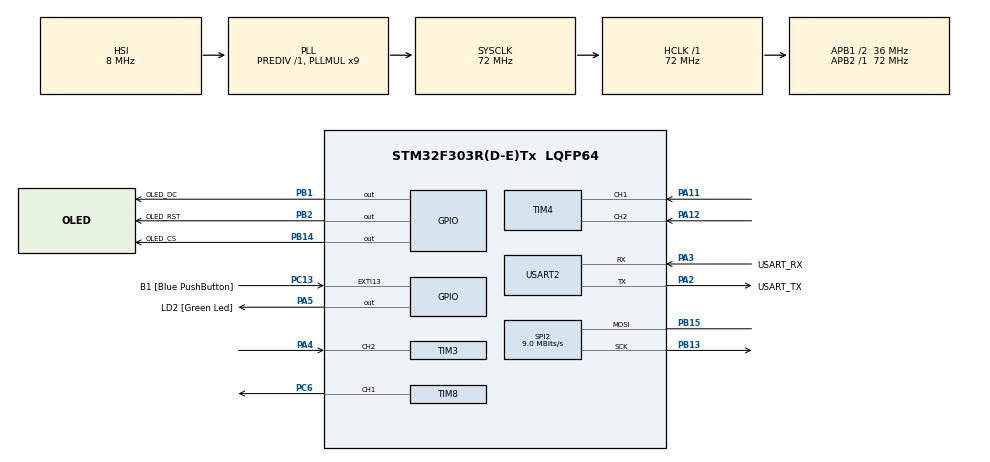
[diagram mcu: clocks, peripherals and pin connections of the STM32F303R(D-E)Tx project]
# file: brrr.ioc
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Mcu.Family=STM32F3
Mcu.Name=STM32F303R(D-E)Tx
Mcu.Package=LQFP64
NVIC.PriorityGroup=NVIC_PRIORITYGROUP_0
NVIC.TIM1_UP_TIM16_IRQn=true\:0\:0\:false\:false\:true\:true\:true
NVIC.TIM2_IRQn=true\:0\:0\:false\:false\:true\:true\:true
NVIC.TIM3_IRQn=true\:0\:0\:false\:false\:true\:true\:true
NVIC.TIM4_IRQn=true\:0\:0\:false\:false\:true\:true\:true
PA11.Signal=S_TIM4_CH1
PA12.Signal=S_TIM4_CH2
PA13.GPIO_Label=TMS
PA13.Mode=Serial_Wire
PA13.Signal=SYS_JTMS-SWDIO
PA14.GPIO_Label=TCK
PA14.Mode=Serial_Wire
PA14.Signal=SYS_JTCK-SWCLK
PA2.GPIO_Label=USART_TX
PA2.GPIO_Mode=GPIO_MODE_AF_PP
PA2.GPIO_PuPd=GPIO_NOPULL
PA2.GPIO_Speed=GPIO_SPEED_FREQ_LOW
PA2.Mode=Asynchronous
PA2.Signal=USART2_TX
PA3.GPIO_Label=USART_RX
PA3.GPIO_Mode=GPIO_MODE_AF_PP
PA3.GPIO_PuPd=GPIO_NOPULL
PA3.GPIO_Speed=GPIO_SPEED_FREQ_LOW
PA3.Mode=Asynchronous
PA3.Signal=USART2_RX
PA4.Signal=S_TIM3_CH2
PA5.GPIO_Label=LD2 [Green Led]
PA5.GPIO_Mode=GPIO_MODE_OUTPUT_PP
PA5.GPIO_PuPd=GPIO_NOPULL
PA5.GPIO_Speed=GPIO_SPEED_FREQ_LOW
PA5.Signal=GPIO_Output
PB1.GPIO_Label=OLED_DC
PB1.Signal=GPIO_Output
PB13.Mode=Simplex_Bidirectional_Master
PB13.Signal=SPI2_SCK
PB14.GPIO_Label=OLED_CS
PB14.Signal=GPIO_Output
PB15.Mode=Simplex_Bidirectional_Master
PB15.Signal=SPI2_MOSI
PB2.GPIO_Label=OLED_RST
PB2.Signal=GPIO_Output
PB3.GPIO_Label=SWO
PB3.Signal=SYS_JTDO-TRACESWO
PC13.GPIO_Label=B1 [Blue PushButton]
PC13.GPIO_ModeDefaultEXTI=GPIO_MODE_IT_FALLING
PC13.Signal=GPXTI13
PC14-OSC32_IN.Mode=LSE-External-Oscillator
PC14-OSC32_IN.Signal=RCC_OSC32_IN
PC15-OSC32_OUT.Mode=LSE-External-Oscillator
PC15-OSC32_OUT.Signal=RCC_OSC32_OUT
PC6.Signal=S_TIM8_CH1
PF0-OSC_IN.Mode=HSE-External-Clock-Source
PF0-OSC_IN.Signal=RCC_OSC_IN
PF1-OSC_OUT.Signal=RCC_OSC_OUT
ProjectManager.HeapSize=0x200
ProjectManager.StackSize=0x400
ProjectManager.TargetToolchain=STM32CubeIDE
RCC.AHBFreq_Value=72000000
RCC.APB1CLKDivider=RCC_HCLK_DIV2
RCC.APB1Freq_Value=36000000
RCC.APB1TimFreq_Value=72000000
RCC.APB2Freq_Value=72000000
RCC.APB2TimFreq_Value=72000000
RCC.CortexFreq_Value=72000000
RCC.HCLKFreq_Value=72000000
RCC.HSE_VALUE=8000000
RCC.HSI_VALUE=8000000
RCC.PLLM=8
RCC.PLLMUL=RCC_PLL_MUL9
RCC.PLLN=336
RCC.PLLP=RCC_PLLP_DIV4
RCC.PLLQ=7
RCC.RCC_PLLsource_Clock_Source_FROM_HSE=RCC_HSE_PREDIV_DIV2
RCC.SYSCLKFreq_VALUE=72000000
RCC.SYSCLKSourceVirtual=RCC_SYSCLKSOURCE_PLLCLK
RCC.USBFreq_Value=72000000
SH.S_TIM3_CH2.0=TIM3_CH2,Input_Capture2_from_TI2
SH.S_TIM4_CH1.0=TIM4_CH1,Encoder_Interface
SH.S_TIM4_CH2.0=TIM4_CH2,Encoder_Interface
SH.S_TIM8_CH1.0=TIM8_CH1,PWM Generation1 CH1
SPI2.BaudRatePrescaler=SPI_BAUDRATEPRESCALER_4
SPI2.CLKPhase=SPI_PHASE_1EDGE
SPI2.CLKPolarity=SPI_POLARITY_HIGH
SPI2.CalculateBaudRate=9.0 MBits/s
SPI2.DataSize=SPI_DATASIZE_8BIT
SPI2.Direction=SPI_DIRECTION_1LINE
SPI2.Mode=SPI_MODE_MASTER
SPI2.NSSPMode=SPI_NSS_PULSE_DISABLE
SPI2.VirtualType=VM_MASTER
TIM1.Period=4000
TIM1.Prescaler=72
TIM2.Period=1000
TIM2.Prescaler=72
TIM3.Channel-Input_Capture2_from_TI2=TIM_CHANNEL_2
TIM3.ClockDivision=TIM_CLOCKDIVISION_DIV1
TIM3.ICFilter_CH2=15
TIM3.Period=65535
TIM3.Prescaler=144
TIM4.EncoderMode=TIM_ENCODERMODE_TI1
TIM4.IC1Filter=5
TIM4.IC1Polarity=TIM_ICPOLARITY_RISING
TIM4.IC2Filter=5
TIM8.AutoReloadPreload=TIM_AUTORELOAD_PRELOAD_DISABLE
TIM8.Channel-PWM\ Generation1\ CH1=TIM_CHANNEL_1
TIM8.Period=7199
TIM8.Prescaler=0
USART2.VirtualMode-Asynchronous=VM_ASYNC
VP_TIM1_VS_ClockSourceINT.Mode=Internal
VP_TIM2_VS_ClockSourceINT.Mode=Internal
VP_TIM3_VS_ClockSourceINT.Mode=Internal
VP_TIM8_VS_ClockSourceINT.Mode=Internal
board=NUCLEO-F303RE

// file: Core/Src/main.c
/* USER CODE BEGIN Header */
/**
 ******************************************************************************
 * @file           : main.c
 * @brief          : Main program body
 ******************************************************************************
 * @attention
 *
 * <h2><center>&copy; Copyright (c) 2021 STMicroelectronics.
 * All rights reserved.</center></h2>
 *
 * This software component is licensed by ST under BSD 3-Clause license,
 * the "License"; You may not use this file except in compliance with the
 * License. You may obtain a copy of the License at:
 *                        opensource.org/licenses/BSD-3-Clause
 *
 ******************************************************************************
 */
/* USER CODE END Header */
#include "main.h"

/* USER CODE BEGIN Includes */
#include "oled.h"
#include "lvgl/lvgl.h"
#include "math.h"
/* USER CODE END Includes */

SPI_HandleTypeDef hspi2;

TIM_HandleTypeDef htim1;
TIM_HandleTypeDef htim2;
TIM_HandleTypeDef htim3;
TIM_HandleTypeDef htim4;
TIM_HandleTypeDef htim8;

UART_HandleTypeDef huart2;

/* USER CODE BEGIN PV */
static TIM_HandleTypeDef *UI_UPDATE_TIM_INSTANCE_PTR = &htim1;
static TIM_HandleTypeDef *LVGL_TICK_TIM_INSTANCE_PTR = &htim2;
static TIM_HandleTypeDef *FREQ_IC_TIM_INSTANCE_PTR = &htim3;
static TIM_HandleTypeDef *ENCODER_TIM_INSTANCE_PTR = &htim4;
static TIM_HandleTypeDef *PWM_TIM_INSTANCE_PTR = &htim8;

static lv_disp_buf_t disp_buf;
static lv_color_t buf[LV_HOR_RES_MAX * LV_VER_RES_MAX];
uint32_t counter = 0;

static volatile uint32_t captured_count_1 = 0;
static volatile uint32_t captured_count_2 = 0;
static volatile uint32_t captured_period = 0;
static volatile float captured_frequency = 0.0f;
static volatile uint8_t ui_update_flag = 0;
static volatile int32_t encoder_value = 0;
const int32_t encoder_min = 0;
const int32_t encoder_max = 100;
static volatile uint16_t encoder_counter = 0;
static volatile uint16_t last_encoder_counter = 0;
/* USER CODE END PV */

void SystemClock_Config(void);
static void MX_GPIO_Init(void);
static void MX_USART2_UART_Init(void);
static void MX_SPI2_Init(void);
static void MX_TIM1_Init(void);
static void MX_TIM2_Init(void);
static void MX_TIM3_Init(void);
static void MX_TIM4_Init(void);
static void MX_TIM8_Init(void);

/* USER CODE BEGIN 0 */
void HAL_TIM_IC_CaptureCallback(TIM_HandleTypeDef *htim) {
	static uint8_t first_capture = 0;
	if (htim == FREQ_IC_TIM_INSTANCE_PTR) {
		if (first_capture == 0) {
			captured_count_1 = HAL_TIM_ReadCapturedValue(&htim3, TIM_CHANNEL_2);
			first_capture = 1;
		} else if (first_capture == 1) {
			captured_count_2 = HAL_TIM_ReadCapturedValue(&htim3, TIM_CHANNEL_2);

			if (captured_count_2 > captured_count_1) {
				captured_period = (captured_count_2 - captured_count_1) * 2; // us
				captured_frequency = 1000000 / captured_period; // Hz
			}
			first_capture = 0;
		}
	}

	// if (htim == ENCODER_TIM_INSTANCE_PTR) {}
}

void HAL_TIM_PeriodElapsedCallback(TIM_HandleTypeDef *htim) {
	if (htim == UI_UPDATE_TIM_INSTANCE_PTR)
		ui_update_flag = 1;

	if (htim == LVGL_TICK_TIM_INSTANCE_PTR)
	{
		encoder_counter = (uint16_t)ENCODER_TIM_INSTANCE_PTR->Instance->CNT;
		int32_t unbound_encoder_value = encoder_value + (int16_t)(encoder_counter - last_encoder_counter);
		last_encoder_counter = encoder_counter;

		if ( unbound_encoder_value > encoder_max ) encoder_value = encoder_max;
		else if ( unbound_encoder_value < encoder_min ) encoder_value = encoder_min;
		else encoder_value = unbound_encoder_value;

		PWM_TIM_INSTANCE_PTR->Instance->CCR1 = encoder_value * 72;
		lv_tick_inc(1);
	}

}

void HAL_TIM_PWM_PulseFinishedCallback(TIM_HandleTypeDef *htim) {
	// if (htim == PWM_TIM_INSTANCE_PTR)
	// ui_update_flag = 1;

}

void start_lvgl_tick() {
	HAL_TIM_Base_Start_IT(LVGL_TICK_TIM_INSTANCE_PTR);
}

void start_encoder_timer() {
	HAL_TIM_Encoder_Start_IT(ENCODER_TIM_INSTANCE_PTR,
			TIM_CHANNEL_1 | TIM_CHANNEL_2);
}
/* USER CODE END 0 */

int main(void)
{

  /* MCU Configuration--------------------------------------------------------*/

  /* Reset of all peripherals, Initializes the Flash interface and the Systick. */
  HAL_Init();

  /* Configure the system clock */
  SystemClock_Config();

  /* Initialize all configured peripherals */
  MX_GPIO_Init();
  MX_USART2_UART_Init();
  MX_SPI2_Init();
  MX_TIM1_Init();
  MX_TIM2_Init();
  MX_TIM3_Init();
  MX_TIM4_Init();
  MX_TIM8_Init();
  /* USER CODE BEGIN 2 */

	initialize();
	start_lvgl_tick();
	lv_init();

	lv_disp_buf_init(&disp_buf, buf, NULL,
			LV_HOR_RES_MAX * LV_VER_RES_MAX / 10); /*Initialize the display buffer*/

	lv_disp_drv_t disp_drv; /*Descriptor of a display driver*/
	lv_disp_drv_init(&disp_drv); /*Basic initialization*/
	disp_drv.flush_cb = &my_disp_flush; /*Set your driver function*/
	disp_drv.buffer = &disp_buf; /*Assign the buffer to the display*/
	lv_disp_drv_register(&disp_drv); /*Finally register the driver*/

	lv_obj_t *label1 = lv_label_create(lv_scr_act(), NULL);
	/*
	 static lv_style_t label_style;
	 lv_style_init(&label_style);
	 lv_style_set_text_font(&label_style, LV_STATE_DEFAULT, &lv_font_montserrat_14);
	 lv_obj_add_style(&label1, LV_LABEL_PART_MAIN, &label_style);
	 */

	lv_label_set_long_mode(label1, LV_LABEL_LONG_SROLL_CIRC);
	lv_label_set_align(label1, LV_LABEL_ALIGN_LEFT);
	lv_label_set_text(label1, "Holy fucking Mackerel!");
	lv_obj_set_width(label1, 128);
	lv_obj_align(label1, NULL, LV_ALIGN_IN_TOP_MID, 0, 0);

	lv_obj_t *label2 = lv_label_create(lv_scr_act(), NULL);
	lv_label_set_align(label2, LV_LABEL_ALIGN_CENTER);
	lv_obj_set_width(label2, 128);
	lv_obj_align(label2, NULL, LV_ALIGN_IN_LEFT_MID, 0, -10);

	lv_obj_t *label3 = lv_label_create(lv_scr_act(), NULL);
	lv_label_set_align(label3, LV_LABEL_ALIGN_CENTER);
	lv_obj_set_width(label3, 128);
	lv_obj_align(label3, NULL, LV_ALIGN_IN_LEFT_MID, 0, 10);

	lv_obj_t *label4 = lv_label_create(lv_scr_act(), NULL);
	lv_label_set_align(label4, LV_LABEL_ALIGN_CENTER);
	lv_obj_set_width(label4, 128);
	lv_obj_align(label4, NULL, LV_ALIGN_IN_BOTTOM_LEFT, 0, 0);

	// Start UI update timer
	HAL_TIM_Base_Start_IT(UI_UPDATE_TIM_INSTANCE_PTR);

	// Start frequency measurement channel
	HAL_TIM_IC_Start_IT(&htim3, TIM_CHANNEL_2);

	start_encoder_timer();

	HAL_TIM_PWM_Start(PWM_TIM_INSTANCE_PTR, TIM_CHANNEL_1);
  /* USER CODE END 2 */

  /* Infinite loop */
  /* USER CODE BEGIN WHILE */
	while (1) {
		lv_task_handler();

		if (ui_update_flag == 1) {
			lv_label_set_text_fmt(label2, "f = %d", lroundf(captured_frequency));
			lv_label_set_text_fmt(label3, "RPM = %d", lroundf(captured_frequency / 4.0f * 60.0f));
			lv_label_set_text_fmt(label4, "enc = %d", encoder_value);

			ui_update_flag = 0;
		}

    /* USER CODE END WHILE */

	}
}

void SystemClock_Config(void)
{
  RCC_OscInitTypeDef RCC_OscInitStruct = {0};
  RCC_ClkInitTypeDef RCC_ClkInitStruct = {0};
  RCC_PeriphCLKInitTypeDef PeriphClkInit = {0};

  /** Initializes the RCC Oscillators according to the specified parameters
  * in the RCC_OscInitTypeDef structure.
  */
  RCC_OscInitStruct.OscillatorType = RCC_OSCILLATORTYPE_HSI;
  RCC_OscInitStruct.HSIState = RCC_HSI_ON;
  RCC_OscInitStruct.HSICalibrationValue = RCC_HSICALIBRATION_DEFAULT;
  RCC_OscInitStruct.PLL.PLLState = RCC_PLL_ON;
  RCC_OscInitStruct.PLL.PLLSource = RCC_PLLSOURCE_HSI;
  RCC_OscInitStruct.PLL.PLLMUL = RCC_PLL_MUL9;
  RCC_OscInitStruct.PLL.PREDIV = RCC_PREDIV_DIV1;
  if (HAL_RCC_OscConfig(&RCC_OscInitStruct) != HAL_OK)
  {
    Error_Handler();
  }
  /** Initializes the CPU, AHB and APB buses clocks
  */
  RCC_ClkInitStruct.ClockType = RCC_CLOCKTYPE_HCLK|RCC_CLOCKTYPE_SYSCLK
                              |RCC_CLOCKTYPE_PCLK1|RCC_CLOCKTYPE_PCLK2;
  RCC_ClkInitStruct.SYSCLKSource = RCC_SYSCLKSOURCE_PLLCLK;
  RCC_ClkInitStruct.AHBCLKDivider = RCC_SYSCLK_DIV1;
  RCC_ClkInitStruct.APB1CLKDivider = RCC_HCLK_DIV2;
  RCC_ClkInitStruct.APB2CLKDivider = RCC_HCLK_DIV1;

  if (HAL_RCC_ClockConfig(&RCC_ClkInitStruct, FLASH_LATENCY_2) != HAL_OK)
  {
    Error_Handler();
  }
  PeriphClkInit.PeriphClockSelection = RCC_PERIPHCLK_USART2|RCC_PERIPHCLK_TIM1
                              |RCC_PERIPHCLK_TIM8|RCC_PERIPHCLK_TIM2
                              |RCC_PERIPHCLK_TIM34;
  PeriphClkInit.Usart2ClockSelection = RCC_USART2CLKSOURCE_PCLK1;
  PeriphClkInit.Tim1ClockSelection = RCC_TIM1CLK_HCLK;
  PeriphClkInit.Tim8ClockSelection = RCC_TIM8CLK_HCLK;
  PeriphClkInit.Tim2ClockSelection = RCC_TIM2CLK_HCLK;
  PeriphClkInit.Tim34ClockSelection = RCC_TIM34CLK_HCLK;
  if (HAL_RCCEx_PeriphCLKConfig(&PeriphClkInit) != HAL_OK)
  {
    Error_Handler();
  }
}

static void MX_SPI2_Init(void)
{

  /* SPI2 parameter configuration*/
  hspi2.Instance = SPI2;
  hspi2.Init.Mode = SPI_MODE_MASTER;
  hspi2.Init.Direction = SPI_DIRECTION_1LINE;
  hspi2.Init.DataSize = SPI_DATASIZE_8BIT;
  hspi2.Init.CLKPolarity = SPI_POLARITY_HIGH;
  hspi2.Init.CLKPhase = SPI_PHASE_1EDGE;
  hspi2.Init.NSS = SPI_NSS_SOFT;
  hspi2.Init.BaudRatePrescaler = SPI_BAUDRATEPRESCALER_4;
  hspi2.Init.FirstBit = SPI_FIRSTBIT_MSB;
  hspi2.Init.TIMode = SPI_TIMODE_DISABLE;
  hspi2.Init.CRCCalculation = SPI_CRCCALCULATION_DISABLE;
  hspi2.Init.CRCPolynomial = 7;
  hspi2.Init.CRCLength = SPI_CRC_LENGTH_DATASIZE;
  hspi2.Init.NSSPMode = SPI_NSS_PULSE_DISABLE;
  if (HAL_SPI_Init(&hspi2) != HAL_OK)
  {
    Error_Handler();
  }

}

static void MX_TIM1_Init(void)
{

  TIM_ClockConfigTypeDef sClockSourceConfig = {0};
  TIM_MasterConfigTypeDef sMasterConfig = {0};

  htim1.Instance = TIM1;
  htim1.Init.Prescaler = 72;
  htim1.Init.CounterMode = TIM_COUNTERMODE_UP;
  htim1.Init.Period = 4000;
  htim1.Init.ClockDivision = TIM_CLOCKDIVISION_DIV1;
  htim1.Init.RepetitionCounter = 0;
  htim1.Init.AutoReloadPreload = TIM_AUTORELOAD_PRELOAD_DISABLE;
  if (HAL_TIM_Base_Init(&htim1) != HAL_OK)
  {
    Error_Handler();
  }
  sClockSourceConfig.ClockSource = TIM_CLOCKSOURCE_INTERNAL;
  if (HAL_TIM_ConfigClockSource(&htim1, &sClockSourceConfig) != HAL_OK)
  {
    Error_Handler();
  }
  sMasterConfig.MasterOutputTrigger = TIM_TRGO_RESET;
  sMasterConfig.MasterOutputTrigger2 = TIM_TRGO2_RESET;
  sMasterConfig.MasterSlaveMode = TIM_MASTERSLAVEMODE_DISABLE;
  if (HAL_TIMEx_MasterConfigSynchronization(&htim1, &sMasterConfig) != HAL_OK)
  {
    Error_Handler();
  }

}

static void MX_TIM2_Init(void)
{

  TIM_ClockConfigTypeDef sClockSourceConfig = {0};
  TIM_MasterConfigTypeDef sMasterConfig = {0};

  htim2.Instance = TIM2;
  htim2.Init.Prescaler = 72;
  htim2.Init.CounterMode = TIM_COUNTERMODE_UP;
  htim2.Init.Period = 1000;
  htim2.Init.ClockDivision = TIM_CLOCKDIVISION_DIV1;
  htim2.Init.AutoReloadPreload = TIM_AUTORELOAD_PRELOAD_DISABLE;
  if (HAL_TIM_Base_Init(&htim2) != HAL_OK)
  {
    Error_Handler();
  }
  sClockSourceConfig.ClockSource = TIM_CLOCKSOURCE_INTERNAL;
  if (HAL_TIM_ConfigClockSource(&htim2, &sClockSourceConfig) != HAL_OK)
  {
    Error_Handler();
  }
  sMasterConfig.MasterOutputTrigger = TIM_TRGO_RESET;
  sMasterConfig.MasterSlaveMode = TIM_MASTERSLAVEMODE_DISABLE;
  if (HAL_TIMEx_MasterConfigSynchronization(&htim2, &sMasterConfig) != HAL_OK)
  {
    Error_Handler();
  }

}

static void MX_TIM3_Init(void)
{

  TIM_ClockConfigTypeDef sClockSourceConfig = {0};
  TIM_MasterConfigTypeDef sMasterConfig = {0};
  TIM_IC_InitTypeDef sConfigIC = {0};

  htim3.Instance = TIM3;
  htim3.Init.Prescaler = 144;
  htim3.Init.CounterMode = TIM_COUNTERMODE_UP;
  htim3.Init.Period = 65535;
  htim3.Init.ClockDivision = TIM_CLOCKDIVISION_DIV1;
  htim3.Init.AutoReloadPreload = TIM_AUTORELOAD_PRELOAD_DISABLE;
  if (HAL_TIM_Base_Init(&htim3) != HAL_OK)
  {
    Error_Handler();
  }
  sClockSourceConfig.ClockSource = TIM_CLOCKSOURCE_INTERNAL;
  if (HAL_TIM_ConfigClockSource(&htim3, &sClockSourceConfig) != HAL_OK)
  {
    Error_Handler();
  }
  if (HAL_TIM_IC_Init(&htim3) != HAL_OK)
  {
    Error_Handler();
  }
  sMasterConfig.MasterOutputTrigger = TIM_TRGO_RESET;
  sMasterConfig.MasterSlaveMode = TIM_MASTERSLAVEMODE_DISABLE;
  if (HAL_TIMEx_MasterConfigSynchronization(&htim3, &sMasterConfig) != HAL_OK)
  {
    Error_Handler();
  }
  sConfigIC.ICPolarity = TIM_INPUTCHANNELPOLARITY_RISING;
  sConfigIC.ICSelection = TIM_ICSELECTION_DIRECTTI;
  sConfigIC.ICPrescaler = TIM_ICPSC_DIV1;
  sConfigIC.ICFilter = 15;
  if (HAL_TIM_IC_ConfigChannel(&htim3, &sConfigIC, TIM_CHANNEL_2) != HAL_OK)
  {
    Error_Handler();
  }

}

static void MX_TIM4_Init(void)
{

  TIM_Encoder_InitTypeDef sConfig = {0};
  TIM_MasterConfigTypeDef sMasterConfig = {0};

  htim4.Instance = TIM4;
  htim4.Init.Prescaler = 0;
  htim4.Init.CounterMode = TIM_COUNTERMODE_UP;
  htim4.Init.Period = 65535;
  htim4.Init.ClockDivision = TIM_CLOCKDIVISION_DIV1;
  htim4.Init.AutoReloadPreload = TIM_AUTORELOAD_PRELOAD_DISABLE;
  sConfig.EncoderMode = TIM_ENCODERMODE_TI1;
  sConfig.IC1Polarity = TIM_ICPOLARITY_RISING;
  sConfig.IC1Selection = TIM_ICSELECTION_DIRECTTI;
  sConfig.IC1Prescaler = TIM_ICPSC_DIV1;
  sConfig.IC1Filter = 5;
  sConfig.IC2Polarity = TIM_ICPOLARITY_RISING;
  sConfig.IC2Selection = TIM_ICSELECTION_DIRECTTI;
  sConfig.IC2Prescaler = TIM_ICPSC_DIV1;
  sConfig.IC2Filter = 5;
  if (HAL_TIM_Encoder_Init(&htim4, &sConfig) != HAL_OK)
  {
    Error_Handler();
  }
  sMasterConfig.MasterOutputTrigger = TIM_TRGO_RESET;
  sMasterConfig.MasterSlaveMode = TIM_MASTERSLAVEMODE_DISABLE;
  if (HAL_TIMEx_MasterConfigSynchronization(&htim4, &sMasterConfig) != HAL_OK)
  {
    Error_Handler();
  }

}

static void MX_TIM8_Init(void)
{

  TIM_ClockConfigTypeDef sClockSourceConfig = {0};
  TIM_MasterConfigTypeDef sMasterConfig = {0};
  TIM_OC_InitTypeDef sConfigOC = {0};
  TIM_BreakDeadTimeConfigTypeDef sBreakDeadTimeConfig = {0};

  htim8.Instance = TIM8;
  htim8.Init.Prescaler = 0;
  htim8.Init.CounterMode = TIM_COUNTERMODE_UP;
  htim8.Init.Period = 7199;
  htim8.Init.ClockDivision = TIM_CLOCKDIVISION_DIV1;
  htim8.Init.RepetitionCounter = 0;
  htim8.Init.AutoReloadPreload = TIM_AUTORELOAD_PRELOAD_DISABLE;
  if (HAL_TIM_Base_Init(&htim8) != HAL_OK)
  {
    Error_Handler();
  }
  sClockSourceConfig.ClockSource = TIM_CLOCKSOURCE_INTERNAL;
  if (HAL_TIM_ConfigClockSource(&htim8, &sClockSourceConfig) != HAL_OK)
  {
    Error_Handler();
  }
  if (HAL_TIM_PWM_Init(&htim8) != HAL_OK)
  {
    Error_Handler();
  }
  sMasterConfig.MasterOutputTrigger = TIM_TRGO_RESET;
  sMasterConfig.MasterOutputTrigger2 = TIM_TRGO2_RESET;
  sMasterConfig.MasterSlaveMode = TIM_MASTERSLAVEMODE_DISABLE;
  if (HAL_TIMEx_MasterConfigSynchronization(&htim8, &sMasterConfig) != HAL_OK)
  {
    Error_Handler();
  }
  sConfigOC.OCMode = TIM_OCMODE_PWM1;
  sConfigOC.Pulse = 0;
  sConfigOC.OCPolarity = TIM_OCPOLARITY_HIGH;
  sConfigOC.OCNPolarity = TIM_OCNPOLARITY_HIGH;
  sConfigOC.OCFastMode = TIM_OCFAST_DISABLE;
  sConfigOC.OCIdleState = TIM_OCIDLESTATE_RESET;
  sConfigOC.OCNIdleState = TIM_OCNIDLESTATE_RESET;
  if (HAL_TIM_PWM_ConfigChannel(&htim8, &sConfigOC, TIM_CHANNEL_1) != HAL_OK)
  {
    Error_Handler();
  }
  sBreakDeadTimeConfig.OffStateRunMode = TIM_OSSR_DISABLE;
  sBreakDeadTimeConfig.OffStateIDLEMode = TIM_OSSI_DISABLE;
  sBreakDeadTimeConfig.LockLevel = TIM_LOCKLEVEL_OFF;
  sBreakDeadTimeConfig.DeadTime = 0;
  sBreakDeadTimeConfig.BreakState = TIM_BREAK_DISABLE;
  sBreakDeadTimeConfig.BreakPolarity = TIM_BREAKPOLARITY_HIGH;
  sBreakDeadTimeConfig.BreakFilter = 0;
  sBreakDeadTimeConfig.Break2State = TIM_BREAK2_DISABLE;
  sBreakDeadTimeConfig.Break2Polarity = TIM_BREAK2POLARITY_HIGH;
  sBreakDeadTimeConfig.Break2Filter = 0;
  sBreakDeadTimeConfig.AutomaticOutput = TIM_AUTOMATICOUTPUT_DISABLE;
  if (HAL_TIMEx_ConfigBreakDeadTime(&htim8, &sBreakDeadTimeConfig) != HAL_OK)
  {
    Error_Handler();
  }
  HAL_TIM_MspPostInit(&htim8);

}

static void MX_USART2_UART_Init(void)
{

  huart2.Instance = USART2;
  huart2.Init.BaudRate = 38400;
  huart2.Init.WordLength = UART_WORDLENGTH_8B;
  huart2.Init.StopBits = UART_STOPBITS_1;
  huart2.Init.Parity = UART_PARITY_NONE;
  huart2.Init.Mode = UART_MODE_TX_RX;
  huart2.Init.HwFlowCtl = UART_HWCONTROL_NONE;
  huart2.Init.OverSampling = UART_OVERSAMPLING_16;
  huart2.Init.OneBitSampling = UART_ONE_BIT_SAMPLE_DISABLE;
  huart2.AdvancedInit.AdvFeatureInit = UART_ADVFEATURE_NO_INIT;
  if (HAL_UART_Init(&huart2) != HAL_OK)
  {
    Error_Handler();
  }

}

static void MX_GPIO_Init(void)
{
  GPIO_InitTypeDef GPIO_InitStruct = {0};

  /* GPIO Ports Clock Enable */
  __HAL_RCC_GPIOC_CLK_ENABLE();
  __HAL_RCC_GPIOF_CLK_ENABLE();
  __HAL_RCC_GPIOA_CLK_ENABLE();
  __HAL_RCC_GPIOB_CLK_ENABLE();

  /*Configure GPIO pin Output Level */
  HAL_GPIO_WritePin(LD2_GPIO_Port, LD2_Pin, GPIO_PIN_RESET);

  /*Configure GPIO pin Output Level */
  HAL_GPIO_WritePin(GPIOB, OLED_DC_Pin|OLED_RST_Pin|OLED_CS_Pin, GPIO_PIN_RESET);

  /*Configure GPIO pin : B1_Pin */
  GPIO_InitStruct.Pin = B1_Pin;
  GPIO_InitStruct.Mode = GPIO_MODE_IT_FALLING;
  GPIO_InitStruct.Pull = GPIO_NOPULL;
  HAL_GPIO_Init(B1_GPIO_Port, &GPIO_InitStruct);

  /*Configure GPIO pin : LD2_Pin */
  GPIO_InitStruct.Pin = LD2_Pin;
  GPIO_InitStruct.Mode = GPIO_MODE_OUTPUT_PP;
  GPIO_InitStruct.Pull = GPIO_NOPULL;
  GPIO_InitStruct.Speed = GPIO_SPEED_FREQ_LOW;
  HAL_GPIO_Init(LD2_GPIO_Port, &GPIO_InitStruct);

  /*Configure GPIO pins : OLED_DC_Pin OLED_RST_Pin OLED_CS_Pin */
  GPIO_InitStruct.Pin = OLED_DC_Pin|OLED_RST_Pin|OLED_CS_Pin;
  GPIO_InitStruct.Mode = GPIO_MODE_OUTPUT_PP;
  GPIO_InitStruct.Pull = GPIO_NOPULL;
  GPIO_InitStruct.Speed = GPIO_SPEED_FREQ_LOW;
  HAL_GPIO_Init(GPIOB, &GPIO_InitStruct);

}

void Error_Handler(void)
{
	__disable_irq();
	while (1) {
	}
}

/************************ (C) COPYRIGHT STMicroelectronics *****END OF FILE****/
